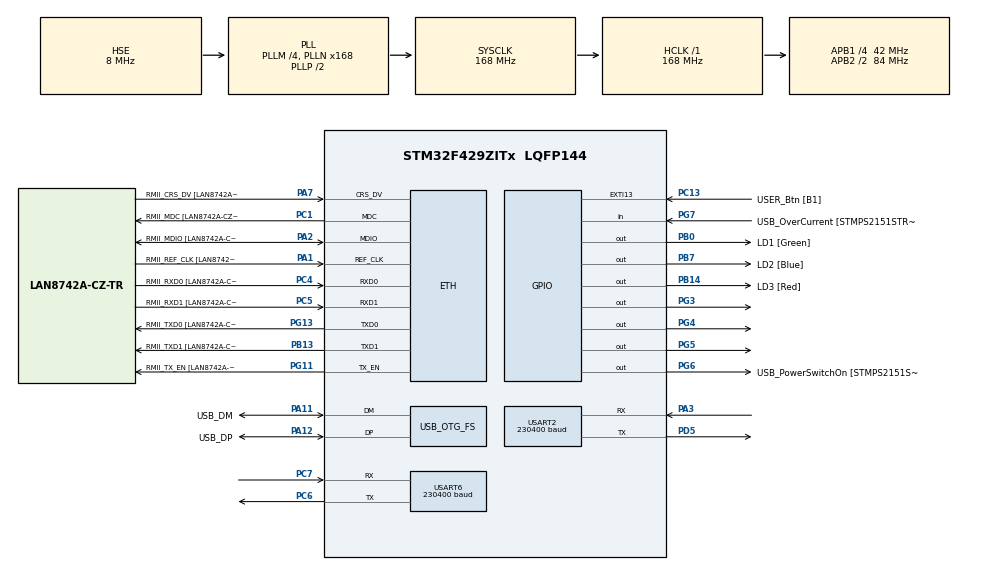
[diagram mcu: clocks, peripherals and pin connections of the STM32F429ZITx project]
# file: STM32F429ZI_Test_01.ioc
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Dma.Request0=USART2_RX
Dma.USART2_RX.0.Direction=DMA_PERIPH_TO_MEMORY
Dma.USART2_RX.0.FIFOMode=DMA_FIFOMODE_DISABLE
Dma.USART2_RX.0.Instance=DMA1_Stream5
Dma.USART2_RX.0.MemDataAlignment=DMA_MDATAALIGN_BYTE
Dma.USART2_RX.0.MemInc=DMA_MINC_ENABLE
Dma.USART2_RX.0.Mode=DMA_NORMAL
Dma.USART2_RX.0.PeriphDataAlignment=DMA_PDATAALIGN_BYTE
Dma.USART2_RX.0.PeriphInc=DMA_PINC_DISABLE
Dma.USART2_RX.0.Priority=DMA_PRIORITY_LOW
ETH.MediaInterface=HAL_ETH_RMII_MODE
ETH.PHY_Name=LAN8742A_PHY_ADDRESS
ETH.PHY_Value=0
ETH.PhyAddress=0
Mcu.Family=STM32F4
Mcu.Name=STM32F429ZITx
Mcu.Package=LQFP144
NVIC.DMA1_Stream5_IRQn=true\:0\:0\:true\:false\:true\:false\:true\:true
NVIC.EXTI15_10_IRQn=true\:0\:0\:false\:false\:true\:true\:true\:true
NVIC.OTG_FS_IRQn=true\:0\:0\:false\:false\:true\:false\:true\:true
NVIC.PriorityGroup=NVIC_PRIORITYGROUP_4
NVIC.TIM1_UP_TIM10_IRQn=true\:0\:0\:false\:false\:true\:true\:true\:true
NVIC.USART2_IRQn=true\:0\:0\:true\:false\:true\:true\:true\:true
NVIC.USART6_IRQn=true\:0\:0\:true\:false\:true\:true\:true\:true
PA1.GPIO_Label=RMII_REF_CLK [LAN8742A-CZ-TR_REFCLK0]
PA1.Mode=RMII
PA1.Signal=ETH_REF_CLK
PA10.GPIO_Label=USB_ID
PA10.Signal=USB_OTG_FS_ID
PA11.GPIO_Label=USB_DM
PA11.Mode=Device_Only
PA11.Signal=USB_OTG_FS_DM
PA12.GPIO_Label=USB_DP
PA12.Mode=Device_Only
PA12.Signal=USB_OTG_FS_DP
PA13.GPIO_Label=TMS
PA13.Mode=Serial_Wire
PA13.Signal=SYS_JTMS-SWDIO
PA14.GPIO_Label=TCK
PA14.Mode=Serial_Wire
PA14.Signal=SYS_JTCK-SWCLK
PA2.GPIO_Label=RMII_MDIO [LAN8742A-CZ-TR_MDIO]
PA2.Mode=RMII
PA2.Signal=ETH_MDIO
PA3.Mode=Asynchronous
PA3.Signal=USART2_RX
PA7.GPIO_Label=RMII_CRS_DV [LAN8742A-CZ-TR_CRS_DV]
PA7.Mode=RMII
PA7.Signal=ETH_CRS_DV
PA8.GPIO_Label=USB_SOF [TP1]
PA8.Signal=USB_OTG_FS_SOF
PA9.GPIO_Label=USB_VBUS
PA9.Signal=USB_OTG_FS_VBUS
PB0.GPIO_Label=LD1 [Green]
PB0.Signal=GPIO_Output
PB13.GPIO_Label=RMII_TXD1 [LAN8742A-CZ-TR_TXD1]
PB13.Mode=RMII
PB13.Signal=ETH_TXD1
PB14.GPIO_Label=LD3 [Red]
PB14.Signal=GPIO_Output
PB7.GPIO_Label=LD2 [Blue]
PB7.Signal=GPIO_Output
PC1.GPIO_Label=RMII_MDC [LAN8742A-CZ-TR_MDC]
PC1.Mode=RMII
PC1.Signal=ETH_MDC
PC13.GPIO_Label=USER_Btn [B1]
PC13.Signal=GPXTI13
PC14/OSC32_IN.Mode=LSE-External-Oscillator
PC14/OSC32_IN.Signal=RCC_OSC32_IN
PC15/OSC32_OUT.Mode=LSE-External-Oscillator
PC15/OSC32_OUT.Signal=RCC_OSC32_OUT
PC4.GPIO_Label=RMII_RXD0 [LAN8742A-CZ-TR_RXD0]
PC4.Mode=RMII
PC4.Signal=ETH_RXD0
PC5.GPIO_Label=RMII_RXD1 [LAN8742A-CZ-TR_RXD1]
PC5.Mode=RMII
PC5.Signal=ETH_RXD1
PC6.Mode=Asynchronous
PC6.Signal=USART6_TX
PC7.Mode=Asynchronous
PC7.Signal=USART6_RX
PD5.Mode=Asynchronous
PD5.Signal=USART2_TX
PD8.GPIO_Label=STLK_RX [STM32F103CBT6_PA3]
PD8.Signal=USART3_TX
PD9.GPIO_Label=STLK_TX [STM32F103CBT6_PA2]
PD9.Signal=USART3_RX
PG11.GPIO_Label=RMII_TX_EN [LAN8742A-CZ-TR_TXEN]
PG11.Mode=RMII
PG11.Signal=ETH_TX_EN
PG13.GPIO_Label=RMII_TXD0 [LAN8742A-CZ-TR_TXD0]
PG13.Mode=RMII
PG13.Signal=ETH_TXD0
PG3.GPIO_Speed=GPIO_SPEED_FREQ_VERY_HIGH
PG3.Signal=GPIO_Output
PG4.GPIO_Speed=GPIO_SPEED_FREQ_VERY_HIGH
PG4.Signal=GPIO_Output
PG5.GPIO_Speed=GPIO_SPEED_FREQ_VERY_HIGH
PG5.Signal=GPIO_Output
PG6.GPIO_Label=USB_PowerSwitchOn [STMPS2151STR_EN]
PG6.Signal=GPIO_Output
PG7.GPIO_Label=USB_OverCurrent [STMPS2151STR_FAULT]
PG7.Signal=GPIO_Input
PH0/OSC_IN.GPIO_Label=MCO [STM32F103CBT6_PA8]
PH0/OSC_IN.Mode=HSE-External-Clock-Source
PH0/OSC_IN.Signal=RCC_OSC_IN
PH1/OSC_OUT.Mode=HSE-External-Clock-Source
PH1/OSC_OUT.Signal=RCC_OSC_OUT
ProjectManager.HeapSize=0x2000
ProjectManager.StackSize=0x4000
ProjectManager.TargetToolchain=STM32CubeIDE
RCC.48MHZClocksFreq_Value=48000000
RCC.AHBFreq_Value=168000000
RCC.APB1CLKDivider=RCC_HCLK_DIV4
RCC.APB1Freq_Value=42000000
RCC.APB1TimFreq_Value=84000000
RCC.APB2CLKDivider=RCC_HCLK_DIV2
RCC.APB2Freq_Value=84000000
RCC.APB2TimCLKDivider=2
RCC.APB2TimFreq_Value=168000000
RCC.CortexFreq_Value=168000000
RCC.HCLKFreq_Value=168000000
RCC.HSE_VALUE=8000000
RCC.HSI_VALUE=16000000
RCC.PLLM=4
RCC.PLLMUL=RCC_PLL_MUL9
RCC.PLLN=168
RCC.PLLQ=7
RCC.PRESCALERUSB=RCC_USBCLKSOURCE_PLL_DIV1_5
RCC.SYSCLKFreq_VALUE=168000000
RCC.SYSCLKSource=RCC_SYSCLKSOURCE_PLLCLK
RCC.SYSCLKSourceVirtual=RCC_SYSCLKSOURCE_PLLCLK
RCC.USBFreq_Value=48000000
RCC.VCOOutputFreq_Value=336000000
TIM1.Period=168-1
TIM1.Prescaler=1000-1
USART2.BaudRate=230400
USART2.Parity=PARITY_EVEN
USART2.VirtualMode=VM_ASYNC
USART2.WordLength=WORDLENGTH_9B
USART6.BaudRate=230400
USART6.Parity=PARITY_EVEN
USART6.VirtualMode=VM_ASYNC
USART6.WordLength=WORDLENGTH_9B
USB_DEVICE.CLASS_NAME_FS=CDC
USB_DEVICE.VirtualMode-CDC_FS=Cdc
USB_DEVICE.VirtualModeFS=Cdc_FS
USB_OTG_FS.VirtualMode=Device_Only
VP_TIM1_VS_ClockSourceINT.Mode=Internal
VP_USB_DEVICE_VS_USB_DEVICE_CDC_FS.Mode=CDC_FS
board=NUCLEO-F429ZI

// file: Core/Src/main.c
/* USER CODE BEGIN Header */
/**
  ******************************************************************************
  * @file           : main.c
  * @brief          : Main program body
  ******************************************************************************
  * @attention
  *
  * Copyright (c) 2024 STMicroelectronics.
  * All rights reserved.
  *
  * This software is licensed under terms that can be found in the LICENSE file
  * in the root directory of this software component.
  * If no LICENSE file comes with this software, it is provided AS-IS.
  *
  ******************************************************************************
  */
/* USER CODE END Header */
#include "main.h"
#include "dma.h"
#include "eth.h"
#include "tim.h"
#include "usart.h"
#include "usb_device.h"
#include "gpio.h"

/* USER CODE BEGIN PV */
extern DMA_HandleTypeDef hdma_usart2_rx;

Q_queue_t USB_TX_Q;
/* USER CODE END PV */

void SystemClock_Config(void);

/* USER CODE BEGIN 0 */

// typedef struct
// {
//     uint8_t cnt;
//     uint8_t MC;
//     uint8_t CKT;
//     uint8_t CKS;

//     uint8_t rw;
//     uint8_t ch;
//     uint8_t addr;
//     uint8_t type;
//     uint8_t ckt_cs;
//     uint8_t event;
//     uint8_t valid;
//     uint8_t cks_cs;
// } MSEQ_t;

// #define MAX_MSEQ                1000

extern uint8_t CDC_Transmit_FS(uint8_t* Buf, uint16_t Len);

int _write(int file, char *ptr, int len){
    // CDC_Transmit_FS(ptr, len);
    Q_Write(&USB_TX_Q, ptr, len);
    // User_CDC_Transmit_FS(ptr, len);
    return (len);
}
/* USER CODE END 0 */

int main(void)
{

  /* MCU Configuration--------------------------------------------------------*/

  /* Reset of all peripherals, Initializes the Flash interface and the Systick. */
  HAL_Init();

  /* Configure the system clock */
  SystemClock_Config();

  /* Initialize all configured peripherals */
  MX_GPIO_Init();
  MX_DMA_Init();
  MX_ETH_Init();
  MX_USART2_UART_Init();
  MX_USART6_UART_Init();
  MX_USB_DEVICE_Init();
  MX_TIM1_Init();
  /* USER CODE BEGIN 2 */
  Q_Init(&USB_TX_Q, (uint8_t *) USB_TX_Data, quedata_arraylength);

  HAL_UARTEx_ReceiveToIdle_DMA(&huart2, (uint8_t *)uart2_rx_IDLE_buf, UART_RX_IDLE_BUFSIZE);
  __HAL_DMA_DISABLE_IT(&hdma_usart2_rx, DMA_IT_HT);

  #if 0
  HAL_UARTEx_ReceiveToIdle_DMA(&huart6, (uint8_t *)uart6_rx_IDLE_buf, UART_RX_IDLE_BUFSIZE);
  __HAL_DMA_DISABLE_IT(&hdma_usart6_rx, DMA_IT_HT);
  #else
  HAL_UART_Receive_IT(&huart6, &uart6_rx_dumnmy_buf, 1);
  #endif

  HAL_TIM_Base_Start_IT(&htim1);

  /* USER CODE END 2 */

  /* Infinite loop */
  /* USER CODE BEGIN WHILE */
  while (1)
  {
    // if(TIM1_CNT_1 >= 500)
    // {
    //   TIM1_CNT_1 = 0;
    //   Verification_CKTChecksum();
    // }
    UART_RX_BufferClear();
    debug_buf_read();
    /* USER CODE END WHILE */

  }
}

void SystemClock_Config(void)
{
  RCC_OscInitTypeDef RCC_OscInitStruct = {0};
  RCC_ClkInitTypeDef RCC_ClkInitStruct = {0};

  /** Configure the main internal regulator output voltage
  */
  __HAL_RCC_PWR_CLK_ENABLE();
  __HAL_PWR_VOLTAGESCALING_CONFIG(PWR_REGULATOR_VOLTAGE_SCALE1);

  /** Initializes the RCC Oscillators according to the specified parameters
  * in the RCC_OscInitTypeDef structure.
  */
  RCC_OscInitStruct.OscillatorType = RCC_OSCILLATORTYPE_HSE;
  RCC_OscInitStruct.HSEState = RCC_HSE_BYPASS;
  RCC_OscInitStruct.PLL.PLLState = RCC_PLL_ON;
  RCC_OscInitStruct.PLL.PLLSource = RCC_PLLSOURCE_HSE;
  RCC_OscInitStruct.PLL.PLLM = 4;
  RCC_OscInitStruct.PLL.PLLN = 168;
  RCC_OscInitStruct.PLL.PLLP = RCC_PLLP_DIV2;
  RCC_OscInitStruct.PLL.PLLQ = 7;
  if (HAL_RCC_OscConfig(&RCC_OscInitStruct) != HAL_OK)
  {
    Error_Handler();
  }

  /** Initializes the CPU, AHB and APB buses clocks
  */
  RCC_ClkInitStruct.ClockType = RCC_CLOCKTYPE_HCLK|RCC_CLOCKTYPE_SYSCLK
                              |RCC_CLOCKTYPE_PCLK1|RCC_CLOCKTYPE_PCLK2;
  RCC_ClkInitStruct.SYSCLKSource = RCC_SYSCLKSOURCE_PLLCLK;
  RCC_ClkInitStruct.AHBCLKDivider = RCC_SYSCLK_DIV1;
  RCC_ClkInitStruct.APB1CLKDivider = RCC_HCLK_DIV4;
  RCC_ClkInitStruct.APB2CLKDivider = RCC_HCLK_DIV2;

  if (HAL_RCC_ClockConfig(&RCC_ClkInitStruct, FLASH_LATENCY_5) != HAL_OK)
  {
    Error_Handler();
  }
}

void Error_Handler(void)
{
  __disable_irq();
  while (1)
  {
  }
}
